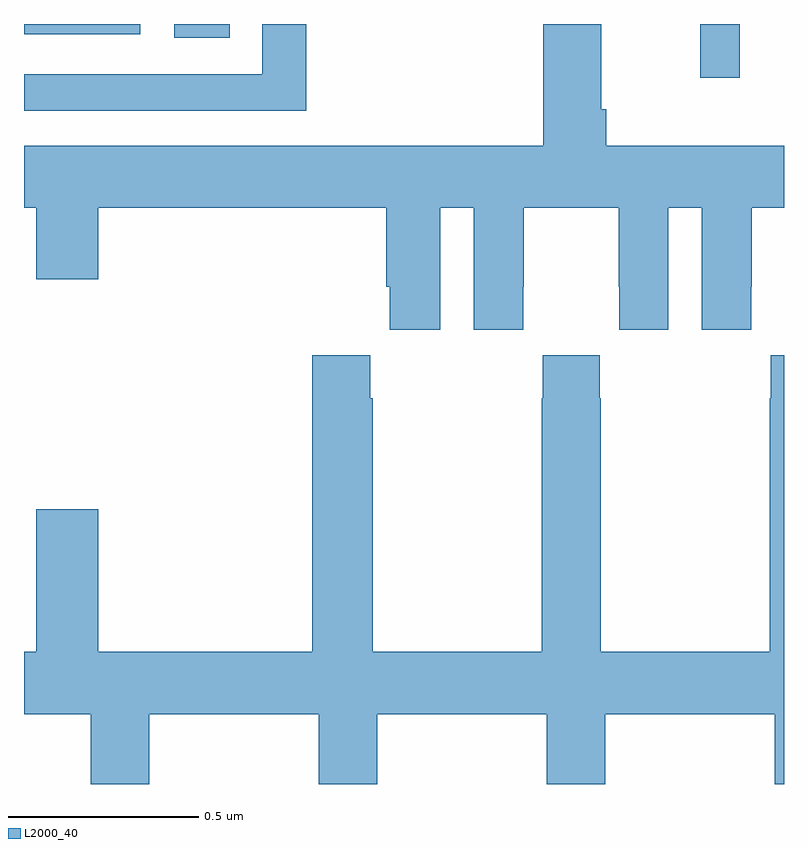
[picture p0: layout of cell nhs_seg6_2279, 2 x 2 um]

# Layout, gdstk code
import gdstk
lib = gdstk.Library(unit=1e-6, precision=1e-09)
def R(c, l, rs):  # rectangles x0, y0, x1, y1
    for r in rs: c.add(gdstk.rectangle(r[:2], r[2:], *l))
def P(c, l, *ps):  # polygons
    for p in ps: c.add(gdstk.Polygon(p, *l))
L2000_40 = (2000, 40)

nhs_seg6_2279 = lib.new_cell('nhs_seg6_2279')
R(nhs_seg6_2279, L2000_40, [(142.78,934.359,142.883,934.5), (141.396,934.464,141.542,934.5), (141,934.473,141.306,934.5)])
P(nhs_seg6_2279, L2000_40, [(141,934.016),(141.032,934.016),(141.032,933.828),(141.196,933.828),(141.196,934.016),(141.953,934.016),(141.953,933.808),(141.962,933.808),(141.962,933.696),(142.096,933.696),(142.096,934.016),(142.184,934.016),(142.184,933.696),(142.314,933.696),(142.314,933.808),(142.315,933.808),(142.315,934.016),(142.565,934.016),(142.565,933.808),(142.566,933.808),(142.566,933.696),(142.696,933.696),(142.696,934.016),(142.784,934.016),(142.784,933.696),(142.914,933.696),(142.914,933.808),(142.915,933.808),(142.915,934.016),(143,934.016),(143,934.18),(142.532,934.18),(142.532,934.276),(142.519,934.276),(142.519,934.5),(142.367,934.5),(142.367,934.18),(141,934.18)],
  [(141.743,934.5),(141.627,934.5),(141.627,934.368),(141,934.368),(141,934.272),(141.743,934.272)],
  [(141.33,932.684),(141.775,932.684),(141.775,932.5),(141.93,932.5),(141.93,932.684),(142.375,932.684),(142.375,932.5),(142.53,932.5),(142.53,932.684),(142.975,932.684),(142.975,932.5),(143,932.5),(143,933.628),(142.965,933.628),(142.965,933.515),(142.963,933.515),(142.963,932.848),(142.518,932.848),(142.518,933.515),(142.515,933.515),(142.515,933.628),(142.365,933.628),(142.365,933.515),(142.363,933.515),(142.363,932.848),(141.918,932.848),(141.918,933.515),(141.911,933.515),(141.911,933.628),(141.758,933.628),(141.758,932.848),(141.196,932.848),(141.196,933.223),(141.032,933.223),(141.032,932.848),(141,932.848),(141,932.684),(141.175,932.684),(141.175,932.5),(141.33,932.5)])

lib.write_gds('nhs_seg6_2279.gds')
